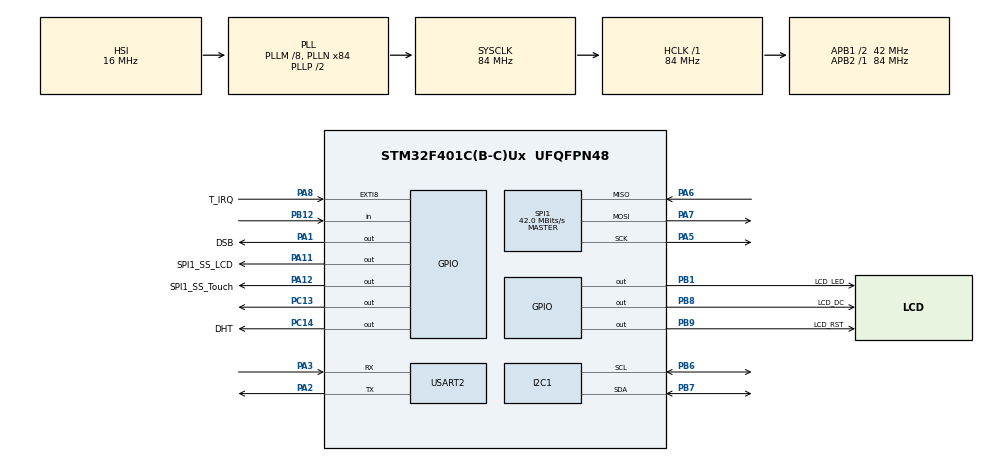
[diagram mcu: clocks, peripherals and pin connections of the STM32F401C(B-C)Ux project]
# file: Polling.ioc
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I2C1.I2C_Mode=I2C_Fast
Mcu.Family=STM32F4
Mcu.Name=STM32F401C(B-C)Ux
Mcu.Package=UFQFPN48
NVIC.I2C1_EV_IRQn=true\:0\:0\:false\:false\:true\:true\:true\:true
NVIC.PriorityGroup=NVIC_PRIORITYGROUP_4
NVIC.USART2_IRQn=true\:0\:0\:false\:false\:true\:true\:true\:true
PA1.GPIO_Label=DSB
PA1.Signal=GPIO_Output
PA11.GPIO_Label=SPI1_SS_LCD
PA11.Signal=GPIO_Output
PA12.GPIO_Label=SPI1_SS_Touch
PA12.Signal=GPIO_Output
PA13.Mode=Serial_Wire
PA13.Signal=SYS_JTMS-SWDIO
PA14.Mode=Serial_Wire
PA14.Signal=SYS_JTCK-SWCLK
PA2.Mode=Asynchronous
PA2.Signal=USART2_TX
PA3.Mode=Asynchronous
PA3.Signal=USART2_RX
PA5.Mode=Full_Duplex_Master
PA5.Signal=SPI1_SCK
PA6.Mode=Full_Duplex_Master
PA6.Signal=SPI1_MISO
PA7.Mode=Full_Duplex_Master
PA7.Signal=SPI1_MOSI
PA8.GPIO_Label=T_IRQ
PA8.GPIO_ModeDefaultEXTI=GPIO_MODE_IT_FALLING
PA8.GPIO_PuPd=GPIO_PULLUP
PA8.Signal=GPXTI8
PB1.GPIO_Label=LCD_LED
PB1.Signal=GPIO_Output
PB12.GPIO_PuPd=GPIO_PULLUP
PB12.Signal=GPIO_Input
PB6.Mode=I2C
PB6.Signal=I2C1_SCL
PB7.Mode=I2C
PB7.Signal=I2C1_SDA
PB8.GPIO_Label=LCD_DC
PB8.GPIO_PuPd=GPIO_PULLUP
PB8.Signal=GPIO_Output
PB9.GPIO_Label=LCD_RST
PB9.Signal=GPIO_Output
PC13-ANTI_TAMP.Signal=GPIO_Output
PC14-OSC32_IN.GPIO_Label=DHT
PC14-OSC32_IN.GPIO_PuPd=GPIO_NOPULL
PC14-OSC32_IN.Signal=GPIO_Output
PH0\ -\ OSC_IN.Mode=HSE-External-Oscillator
PH0\ -\ OSC_IN.Signal=RCC_OSC_IN
PH1\ -\ OSC_OUT.Mode=HSE-External-Oscillator
PH1\ -\ OSC_OUT.Signal=RCC_OSC_OUT
ProjectManager.HeapSize=0x200
ProjectManager.StackSize=0x400
ProjectManager.TargetToolchain=STM32CubeIDE
RCC.48MHZClocksFreq_Value=42000000
RCC.AHBFreq_Value=84000000
RCC.APB1CLKDivider=RCC_HCLK_DIV2
RCC.APB1Freq_Value=42000000
RCC.APB1TimFreq_Value=84000000
RCC.APB2Freq_Value=84000000
RCC.APB2TimFreq_Value=84000000
RCC.CortexFreq_Value=84000000
RCC.HCLKFreq_Value=84000000
RCC.HSE_VALUE=25000000
RCC.HSI_VALUE=16000000
RCC.LSE_VALUE=32768
RCC.PLLM=8
RCC.PLLN=84
RCC.SYSCLKFreq_VALUE=84000000
RCC.SYSCLKSource=RCC_SYSCLKSOURCE_PLLCLK
RCC.VCOOutputFreq_Value=168000000
SPI1.CalculateBaudRate=42.0 MBits/s
SPI1.Direction=SPI_DIRECTION_2LINES
SPI1.Mode=SPI_MODE_MASTER
SPI1.VirtualType=VM_MASTER
TIM10.Prescaler=62
TIM11.Period=0xffff-1
TIM11.Prescaler=50-1
USART2.VirtualMode=VM_ASYNC
VP_TIM10_VS_ClockSourceINT.Mode=Enable_Timer
VP_TIM11_VS_ClockSourceINT.Mode=Enable_Timer
board=custom

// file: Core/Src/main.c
/* USER CODE BEGIN Header */
/**
  ******************************************************************************
  * @file           : main.c
  * @brief          : Main program body
  ******************************************************************************
  * @attention
  *
  * Copyright (c) 2024 STMicroelectronics.
  * All rights reserved.
  *
  * This software is licensed under terms that can be found in the LICENSE file
  * in the root directory of this software component.
  * If no LICENSE file comes with this software, it is provided AS-IS.
  *
  ******************************************************************************
  */
/* USER CODE END Header */
#include "main.h"
#include "i2c.h"
#include "spi.h"
#include "tim.h"
#include "usart.h"
#include "gpio.h"

/* USER CODE BEGIN Includes */
#include <stdio.h>
#include <string.h>
#include "common.h"
#include "ili9341.h"
#include "dht11.h"
#include "max30102.h"
#include "ds18b20.h"

/* USER CODE END Includes */

/* USER CODE BEGIN PTD */
#define Timeout 			60000
#define MeasurePeriod 		5000
#define	ActionPeriod 		15000

#define BUFFER_ACTION 50

typedef struct
{
	float Temperature;
	float Humidity;
	uint8_t bpm;
	uint8_t spo2;
}Node;

typedef struct
{
	char action[50];
	char elem[10];
	uint8_t idx;
}action_t;

Node Node_1 = {0, 0, 0, 0};

myButton_t Button_1 = {30, 170, 20, 0, 0, ILI9341_LIGHTBLUE, false, NULL};
myButton_t Button_2 = {290, 170, 20, 0, 0, ILI9341_LIGHTBLUE, false, NULL};
char rxBuff[50];
char txBuff[] = "toggle\r\n";
char str[25];
char str1[25];
char payload[BUFFER_ACTION];
char action[BUFFER_ACTION] = {0};
char message[100];
extern Ds18b20Sensor_t	ds18b20[_DS18B20_MAX_SENSORS];

float Temperature, Humidity;
/* USER CODE END PTD */

void SystemClock_Config(void);

int main(void)
{

  /* MCU Configuration--------------------------------------------------------*/

  /* Reset of all peripherals, Initializes the Flash interface and the Systick. */
  HAL_Init();

  /* Configure the system clock */
  SystemClock_Config();

  /* Initialize all configured peripherals */
  MX_GPIO_Init();
  MX_I2C1_Init();
  MX_SPI1_Init();
  MX_USART2_UART_Init();
  MX_TIM11_Init();
  MX_TIM10_Init();
  /* USER CODE BEGIN 2 */

	char StrgTemp[6];
	char StrgHumd[3];
	char Strgbpm[4] ;
	char Strgspo2[4];

	//Display
	ILI9341_Unselect();
	ILI9341_TouchUnselect();
	ILI9341_Init();
	ILI9341_FillScreen(ILI9341_BLACK);
	//Background
	ILI9341_WriteString(10, 10, "Embedded Design System 20231", Font_11x18, ILI9341_WHITE, ILI9341_BLACK);
	ILI9341_WriteString(30, 40, "20202647", Font_7x10, ILI9341_WHITE, ILI9341_BLACK);
	ILI9341_WriteString(235, 40, "20202543", Font_7x10, ILI9341_WHITE, ILI9341_BLACK);
	ILI9341_DrawLine(0, 55, 320, 55, ILI9341_WHITE);
	ILI9341_DrawLine(0, 200, 320, 200, ILI9341_WHITE);
	ILI9341_DrawLine(250, 55, 250, 200, ILI9341_WHITE);
	ILI9341_WriteString(10, 180, "Mode:", Font_11x18, ILI9341_WHITE, ILI9341_BLACK);
	ILI9341_WriteString(150, 180, "Hello", Font_11x18, ILI9341_YELLOW, ILI9341_BLACK);
	ILI9341_WriteString(100, 210, "MANDEVICES", Font_11x18, ILI9341_RED, ILI9341_BLACK);

	//Data
	ILI9341_WriteString(10, 60, "Temperature:", Font_11x18, ILI9341_WHITE, ILI9341_BLACK);
	ftoa(Node_1.Temperature, StrgTemp, 1);
	ILI9341_WriteString(150, 60, StrgTemp, Font_11x18, ILI9341_ORANGE, ILI9341_BLACK);

	ILI9341_WriteString(10, 90, "Humidity:", Font_11x18, ILI9341_WHITE, ILI9341_BLACK);
	intToStr((int)Node_1.Humidity, StrgHumd, 2);
	ILI9341_WriteString(150, 90, StrgHumd, Font_11x18, ILI9341_BLUE, ILI9341_BLACK);
	ILI9341_WriteString(180, 90, "%", Font_11x18, ILI9341_BLUE, ILI9341_BLACK);

	ILI9341_WriteString(10, 120, "BPM:", Font_11x18, ILI9341_WHITE, ILI9341_BLACK);
	intToStr(Node_1.bpm, Strgbpm, 2);
	ILI9341_WriteString(150, 120, Strgbpm, Font_11x18, ILI9341_GREEN, ILI9341_BLACK);

	ILI9341_WriteString(10, 150, "Spo2:", Font_11x18, ILI9341_WHITE, ILI9341_BLACK);
	intToStr(Node_1.spo2, Strgspo2, 2);
	ILI9341_WriteString(150, 150, Strgspo2, Font_11x18, ILI9341_PINK, ILI9341_BLACK);

	HAL_UART_Receive_IT(&huart2, (uint8_t*) rxBuff, 8);
	max30102_init();
	 DS18B20_Init(DS18B20_Resolution_12bits);
  /* USER CODE END 2 */

  /* Infinite loop */
  while (1)
  {

    /* USER CODE BEGIN 3 */

//	  if (HAL_GPIO_ReadPin(GPIOB, GPIO_PIN_12) == GPIO_PIN_RESET)
//	          {
//	              max30102_cal();
//	              uint8_t spo2 = max30102_getSpO2();
//	              uint8_t heartReat = max30102_getHeartRate();
//	              sprintf(str, "HR: %3d, SPO2: %3d\n", heartReat, spo2);
//	          HAL_UART_Transmit(&huart2, (uint8_t*) str, 20, 20);
////	          }
//	  DS18B20_ReadAll();
//	  DS18B20_StartAll();
//
//	Temperature = ds18b20[0].Temperature;
//	  				//DS18B20_GetROM(i, ROM_tmp);
//	memset(message, 0, sizeof(message));
//	sprintf(message,  "Temp: %2.2f\n\r", Temperature);
//	HAL_UART_Transmit(&huart2, (uint8_t*)message, sizeof(message), 100);
//
//
//	  		HAL_UART_Transmit(&huart2, (uint8_t*)"\n\r", sizeof("\n\r"), 100);
	  		Node_1.Temperature = Temperature;
//		Temperature = DHT1.Temp;
//		Humidity = DHT1.Humi;
//		sprintf(str1, "temp: %2f, humd: %2f\n", Temperature, Humidity);
//		HAL_UART_Transmit(&huart2, (uint8_t*) str1, 24, 20);

		//HAL_GPIO_TgglePin(GPIOC, GPIO_PIN_13);
		ftoa(Node_1.Temperature, StrgTemp, 1);
		ILI9341_WriteString(150, 60, StrgTemp, Font_11x18, ILI9341_ORANGE, ILI9341_BLACK);

		intToStr((int)Node_1.Humidity, StrgHumd, 2);
		ILI9341_WriteString(150, 90, StrgHumd, Font_11x18, ILI9341_BLUE, ILI9341_BLACK);
		ILI9341_WriteString(180, 90, "%", Font_11x18, ILI9341_BLUE, ILI9341_BLACK);

		intToStr(Node_1.bpm, Strgbpm, 2);
		ILI9341_WriteString(150, 120, Strgbpm, Font_11x18, ILI9341_GREEN, ILI9341_BLACK);

		intToStr(Node_1.spo2, Strgspo2, 2);
		ILI9341_WriteString(150, 150, Strgspo2, Font_11x18, ILI9341_PINK, ILI9341_BLACK);
		HAL_Delay(3000);
  }
  /* USER CODE END 3 */
}

void SystemClock_Config(void)
{
  RCC_OscInitTypeDef RCC_OscInitStruct = {0};
  RCC_ClkInitTypeDef RCC_ClkInitStruct = {0};

  /** Configure the main internal regulator output voltage
  */
  __HAL_RCC_PWR_CLK_ENABLE();
  __HAL_PWR_VOLTAGESCALING_CONFIG(PWR_REGULATOR_VOLTAGE_SCALE2);

  /** Initializes the RCC Oscillators according to the specified parameters
  * in the RCC_OscInitTypeDef structure.
  */
  RCC_OscInitStruct.OscillatorType = RCC_OSCILLATORTYPE_HSI;
  RCC_OscInitStruct.HSIState = RCC_HSI_ON;
  RCC_OscInitStruct.HSICalibrationValue = RCC_HSICALIBRATION_DEFAULT;
  RCC_OscInitStruct.PLL.PLLState = RCC_PLL_ON;
  RCC_OscInitStruct.PLL.PLLSource = RCC_PLLSOURCE_HSI;
  RCC_OscInitStruct.PLL.PLLM = 8;
  RCC_OscInitStruct.PLL.PLLN = 84;
  RCC_OscInitStruct.PLL.PLLP = RCC_PLLP_DIV2;
  RCC_OscInitStruct.PLL.PLLQ = 4;
  if (HAL_RCC_OscConfig(&RCC_OscInitStruct) != HAL_OK)
  {
    Error_Handler();
  }

  /** Initializes the CPU, AHB and APB buses clocks
  */
  RCC_ClkInitStruct.ClockType = RCC_CLOCKTYPE_HCLK|RCC_CLOCKTYPE_SYSCLK
                              |RCC_CLOCKTYPE_PCLK1|RCC_CLOCKTYPE_PCLK2;
  RCC_ClkInitStruct.SYSCLKSource = RCC_SYSCLKSOURCE_PLLCLK;
  RCC_ClkInitStruct.AHBCLKDivider = RCC_SYSCLK_DIV1;
  RCC_ClkInitStruct.APB1CLKDivider = RCC_HCLK_DIV2;
  RCC_ClkInitStruct.APB2CLKDivider = RCC_HCLK_DIV1;

  if (HAL_RCC_ClockConfig(&RCC_ClkInitStruct, FLASH_LATENCY_2) != HAL_OK)
  {
    Error_Handler();
  }
}

/* USER CODE BEGIN 4 */
void HAL_UART_RxCpltCallback(UART_HandleTypeDef *huart)
{
	char keyword[] = "toggle\r\n";
	if (huart == &huart2)
	{
		if (strcmp(rxBuff, keyword) == 0)
		{
			HAL_GPIO_TogglePin(GPIOC, GPIO_PIN_13);
			HAL_UART_Transmit(&huart2, (uint8_t*) "TOGGLE\r\n", 8, 10);
			HAL_UART_Receive_IT(&huart2, (uint8_t*) rxBuff, 8);
		}

	}
}
void HAL_GPIO_EXTI_Callback(uint16_t GPIO_Pin)
{
  if (GPIO_Pin == T_IRQ_Pin)
  {

	  	Node_1.Temperature = 22.5;
	  	Node_1.bpm = 110;
	  	Node_1.Humidity = 82.0;
	  	Node_1.spo2 = 85;
  }

}
/* USER CODE END 4 */

void Error_Handler(void)
{
  __disable_irq();
  while (1)
  {
  }
}
